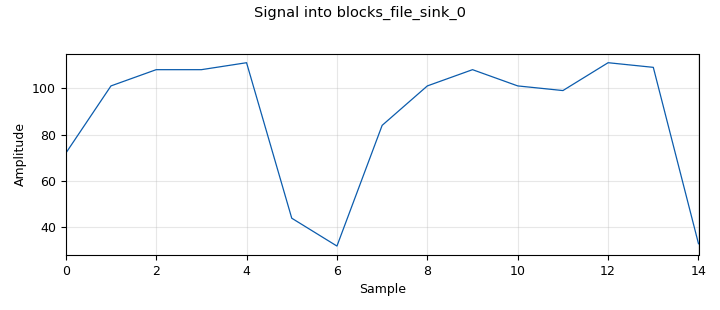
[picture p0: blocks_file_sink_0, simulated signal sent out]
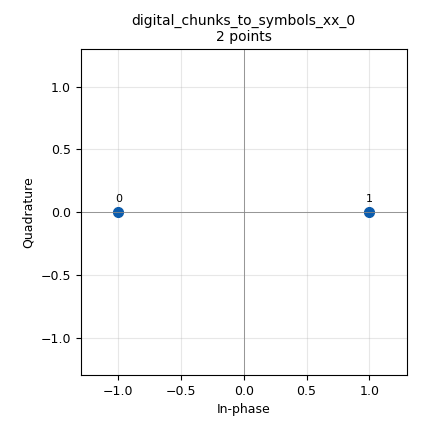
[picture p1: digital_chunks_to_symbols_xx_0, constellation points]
options:
  parameters:
    author: sterben
    generate_options: qt_gui
    id: test_software_loopback
    output_language: python
    title: Not titled yet
  states: {}

blocks:
- name: noise_amp
  id: variable
  parameters:
    value: '0.05'
  states: {}
- name: samp_rate
  id: variable
  parameters:
    value: '32000'
  states: {}
- name: analog_noise_source_x_0
  id: analog_noise_source_x
  parameters:
    amp: noise_amp
    noise_type: analog.GR_GAUSSIAN
    seed: '0'
    type: complex
  states: {}
- name: blocks_add_xx_0
  id: blocks_add_xx
  parameters:
    type: complex
  states: {}
- name: blocks_complex_to_real_0
  id: blocks_complex_to_real
  parameters: {}
  states: {}
- name: blocks_file_sink_0
  id: blocks_file_sink
  parameters:
    file: output.txt
    type: byte
  states: {}
- name: blocks_packed_to_unpacked_xx_0
  id: blocks_packed_to_unpacked_xx
  parameters:
    bits_per_chunk: '1'
    endianness: gr.GR_MSB_FIRST
    type: byte
  states: {}
- name: blocks_throttle2_0
  id: blocks_throttle2
  parameters:
    samples_per_second: samp_rate
    type: complex
  states: {}
- name: blocks_unpacked_to_packed_xx_0
  id: blocks_unpacked_to_packed_xx
  parameters:
    bits_per_chunk: '1'
    endianness: gr.GR_MSB_FIRST
    type: byte
  states: {}
- name: blocks_vector_source_x_0
  id: blocks_vector_source_x
  parameters:
    repeat: 'False'
    type: byte
    vector: '[ord(c) for c in "Hello, Telecom!"]'
  states: {}
- name: digital_binary_slicer_fb_0
  id: digital_binary_slicer_fb
  parameters: {}
  states: {}
- name: digital_chunks_to_symbols_xx_0
  id: digital_chunks_to_symbols_xx
  parameters:
    dimension: '1'
    in_type: byte
    out_type: complex
    symbol_table: '[-1, 1]'
  states: {}

connections:
- [analog_noise_source_x_0, '0', blocks_add_xx_0, '1']
- [blocks_add_xx_0, '0', blocks_throttle2_0, '0']
- [blocks_complex_to_real_0, '0', digital_binary_slicer_fb_0, '0']
- [blocks_packed_to_unpacked_xx_0, '0', digital_chunks_to_symbols_xx_0, '0']
- [blocks_throttle2_0, '0', blocks_complex_to_real_0, '0']
- [blocks_unpacked_to_packed_xx_0, '0', blocks_file_sink_0, '0']
- [blocks_vector_source_x_0, '0', blocks_packed_to_unpacked_xx_0, '0']
- [digital_binary_slicer_fb_0, '0', blocks_unpacked_to_packed_xx_0, '0']
- [digital_chunks_to_symbols_xx_0, '0', blocks_add_xx_0, '0']

metadata:
  file_format: 1
  grc_version: 3.10.9.2
